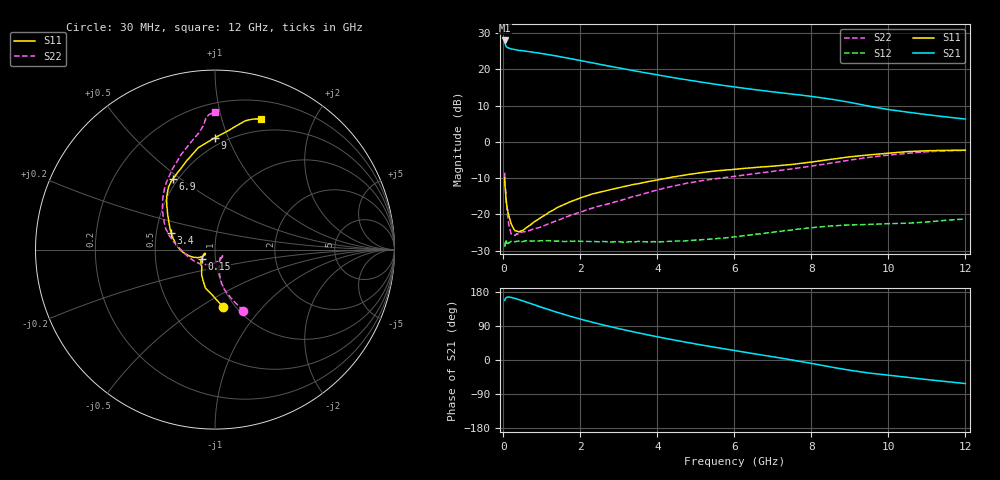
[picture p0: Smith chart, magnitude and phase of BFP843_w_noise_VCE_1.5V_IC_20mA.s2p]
! (c) 2013  Infineon Technologies AG, Munich
! Infineon Technologies  Discrete & RF Semiconductors
! BFP843
! VCE =  1.5 V,  IC =  20 mA
! Common Emitter S-Parameters:  Aug 2013
# GHz  S  MA  R  50
!  f  S11  S21  S12  S22
! GHz  MAG  ANG  MAG  ANG  MAG  ANG  MAG  ANG
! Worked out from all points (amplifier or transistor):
!   103 points, 30 MHz to 12 GHz, reference 50 ohm
!   highest |S21| = 28.0 dB at 30 MHz (marker M1)
!   |S21| within 3 dB of that: start of sweep to 604 MHz
!   unconditionally stable (mu >= 1): 114.4 MHz to 10.86 GHz
!   at 400 MHz: K = 1.02, MAG = 25.4 dB, |S12| = -27.4 dB
!   at 3.7 GHz: K = 1.37, MAG = 19.7 dB, |S12| = -27.5 dB
!   at 12 GHz: K = 0.87, MSG = 13.8 dB, |S12| = -21.2 dB
!   lowest NFmin = 1.04 dB at 450 MHz
!   S11 on the Smith chart (normalised r, x): 30 MHz: 0.88, -0.62; 150 MHz: 0.86, -0.09; 3.4 GHz: 0.60, +0.12; 6.9 GHz: 0.47, +0.47; 9 GHz: 0.44, +0.90; 12 GHz: 0.38, +1.34
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0.03  0.3199 -82.4  25.14 157.4  0.0372 26.1  0.3771 -65.2
0.04  0.2504 -94.1  23.12 159.3  0.0365 21.0  0.287 -71.5
0.05  0.22 -104.2  22.08 162.3  0.0408 4.6  0.2327 -76.4
0.07  0.1578 -118.2  20.77 164.4  0.0432 10.6  0.1614 -79.7
0.1  0.1171 -129.2  20.13 165.9  0.0407 9.0  0.1056 -78.0
0.15  0.092 -144.1  19.65 165.9  0.0408 8.6  0.0683 -67.8
0.3  0.0595 -158.3  18.76 162.5  0.0421 3.8  0.0513 -43.8
0.8  0.079 -150.6  17.2 145.7  0.0431 2.7  0.0637 -65.2
1  0.0928 -152.5  16.57 138.8  0.0435 1.3  0.0678 -79.5
1.2  0.1085 -155.3  15.91 132.1  0.0434 0.8  0.0752 -92.9
1.6  0.1391 -163.8  14.59 119.5  0.0422 1.0  0.0918 -114.5
2.1  0.1764 -174.8  12.96 105.2  0.0423 1.0  0.112 -136.0
2.7  0.2144 173.0  11.24 89.8  0.0421 0.3  0.1386 -156.4
3.4  0.261 159.5  9.595 73.8  0.0417 1.4  0.1788 -175.2
4.1  0.3065 147.5  8.242 59.2  0.042 3.7  0.2245 171.0
5  0.3684 136.9  6.876 42.2  0.0443 6.7  0.283 159.6
6.1  0.4239 128.2  5.647 23.4  0.0497 9.5  0.3409 147.8
6.9  0.4593 120.6  4.983 10.2  0.0561 9.3  0.3864 139.0
8.5  0.5756 99.3  3.902 -18.3  0.0694 1.1  0.5091 117.6
9  0.6235 90.0  3.521 -27.1  0.0717 -1.9  0.5628 109.5
10.5  0.7368 76.8  2.579 -45.8  0.0757 -9.1  0.6964 95.2
12  0.7685 70.6  2.072 -62.1  0.0866 -15.6  0.7668 90.0
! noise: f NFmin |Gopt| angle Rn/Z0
0.45  1.04  0.12  -173  0.04
0.9  1.05  0.12  -165  0.07
1.5  1.06  0.13  -157  0.15
1.9  1.08  0.13  -147  0.21
2.4  1.11  0.12  -135  0.27
3.5  1.15  0.11  -117  0.32
5.5  1.25  0.25  -110  0.41
10  1.83  0.52  -61  0.54
